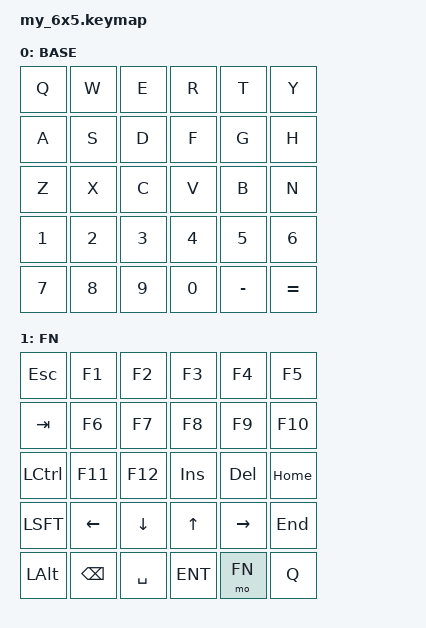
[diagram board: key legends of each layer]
#include <behaviors.dtsi>
#include <dt-bindings/zmk/keys.h>
#include <dt-bindings/zmk/bt.h>
#include <dt-bindings/zmk/outputs.h>

#define BASE 0
#define FN   1

/ {
    keymap {
        compatible = "zmk,keymap";

        base_layer {
            label = "BASE";
            bindings = <
                &kp Q   &kp W   &kp E   &kp R   &kp T   &kp Y
                &kp A   &kp S   &kp D   &kp F   &kp G   &kp H
                &kp Z   &kp X   &kp C   &kp V   &kp B   &kp N
                &kp 1   &kp 2   &kp 3   &kp 4   &kp 5   &kp 6
                &kp 7   &kp 8   &kp 9   &kp 0   &kp MINUS &kp EQUAL
            >;
        };

        fn_layer {
            label = "FN";
            bindings = <
                &kp ESC   &kp F1    &kp F2    &kp F3    &kp F4    &kp F5
                &kp TAB   &kp F6    &kp F7    &kp F8    &kp F9    &kp F10
                &kp LCTL  &kp F11   &kp F12   &kp INS   &kp DEL   &kp HOME
                &kp LSFT  &kp LEFT  &kp DOWN  &kp UP    &kp RIGHT &kp END
                &kp LALT  &kp BSPC  &kp SPC   &kp ENT   &mo FN    &kp Q
            >;
        };
    };
};
